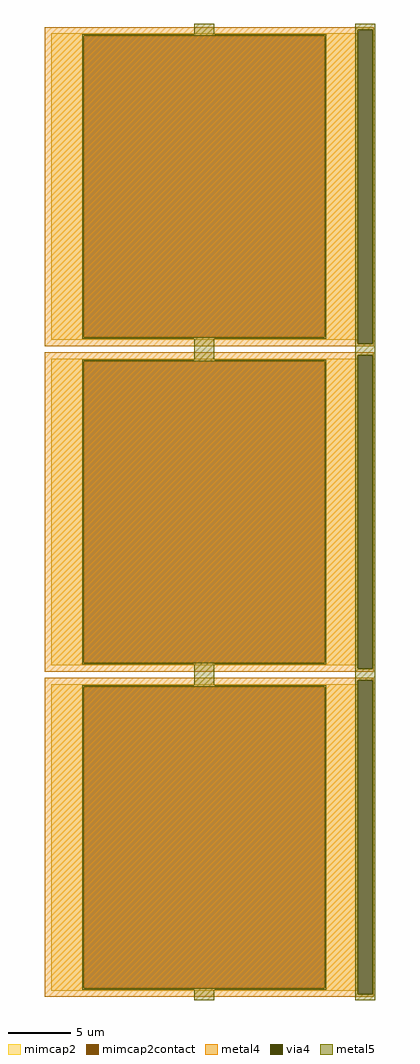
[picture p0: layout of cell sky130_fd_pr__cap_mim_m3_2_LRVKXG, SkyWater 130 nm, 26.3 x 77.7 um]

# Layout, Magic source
magic
tech sky130A
magscale 1 2
<< metal4 >>
rect -2619 7679 2619 7720
rect -2619 2681 2363 7679
rect 2599 2681 2619 7679
rect -2619 2640 2619 2681
rect -2619 2499 2619 2540
rect -2619 -2499 2363 2499
rect 2599 -2499 2619 2499
rect -2619 -2540 2619 -2499
rect -2619 -2681 2619 -2640
rect -2619 -7679 2363 -2681
rect 2599 -7679 2619 -2681
rect -2619 -7720 2619 -7679
<< via4 >>
rect 2363 2681 2599 7679
rect 2363 -2499 2599 2499
rect 2363 -7679 2599 -2681
<< mimcap2 >>
rect -2519 7580 2361 7620
rect -2519 2780 -1999 7580
rect 1841 2780 2361 7580
rect -2519 2740 2361 2780
rect -2519 2400 2361 2440
rect -2519 -2400 -1999 2400
rect 1841 -2400 2361 2400
rect -2519 -2440 2361 -2400
rect -2519 -2780 2361 -2740
rect -2519 -7580 -1999 -2780
rect 1841 -7580 2361 -2780
rect -2519 -7620 2361 -7580
<< mimcap2contact >>
rect -1999 2780 1841 7580
rect -1999 -2400 1841 2400
rect -1999 -7580 1841 -2780
<< metal5 >>
rect -239 7604 81 7770
rect 2321 7679 2641 7770
rect -2023 7580 1865 7604
rect -2023 2780 -1999 7580
rect 1841 2780 1865 7580
rect -2023 2756 1865 2780
rect -239 2424 81 2756
rect 2321 2681 2363 7679
rect 2599 2681 2641 7679
rect 2321 2499 2641 2681
rect -2023 2400 1865 2424
rect -2023 -2400 -1999 2400
rect 1841 -2400 1865 2400
rect -2023 -2424 1865 -2400
rect -239 -2756 81 -2424
rect 2321 -2499 2363 2499
rect 2599 -2499 2641 2499
rect 2321 -2681 2641 -2499
rect -2023 -2780 1865 -2756
rect -2023 -7580 -1999 -2780
rect 1841 -7580 1865 -2780
rect -2023 -7604 1865 -7580
rect -239 -7770 81 -7604
rect 2321 -7679 2363 -2681
rect 2599 -7679 2641 -2681
rect 2321 -7770 2641 -7679
<< properties >>
string FIXED_BBOX -2619 2640 2461 7720
string gencell sky130_fd_pr__cap_mim_m3_2
string library sky130
string parameters w 24.399 l 24.399 val 1.209k carea 2.00 cperi 0.19 nx 1 ny 3 dummy 0 square 0 lmin 2.00 wmin 2.00 lmax 30.0 wmax 30.0 dc 0 bconnect 1 tconnect 1 ccov 80
<< end >>
